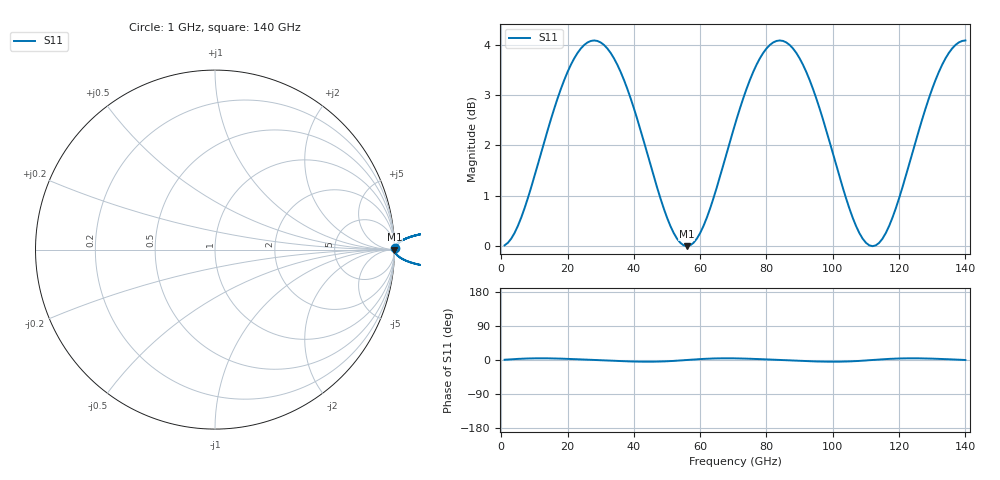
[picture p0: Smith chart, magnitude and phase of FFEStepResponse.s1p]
! File created by SignalIntegrity v1.1.14: Signal and Power Integrity Tools
! https://github.com/TeledyneLeCroy/SignalIntegrity
# MHz S MA R 50.0
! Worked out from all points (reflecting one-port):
!   140 points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, 1 GHz to 140 GHz, reference 50 ohm
!   lowest |S11| = 0.0 dB at 56 GHz (marker M1)
!   phase of S11 starts at 1 deg and turns -1 deg over the sweep
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1000  1.002 0.6
4000  1.031 2.4
8000  1.116 4.0
19000  1.462 3.3
24000  1.571 1.6
28000  1.6 0.0
32000  1.571 -1.6
36000  1.489 -3.0
42000  1.304 -4.4
48000  1.116 -4.0
54000  1.008 -1.3
56000  1 -0.0
62000  1.067 3.3
71000  1.337 4.3
76000  1.489 3.0
80000  1.571 1.6
84000  1.6 0.0
88000  1.571 -1.6
92000  1.489 -3.0
97000  1.337 -4.3
106000  1.067 -3.3
110000  1.008 -1.3
114000  1.008 1.3
118000  1.067 3.3
123000  1.205 4.5
133000  1.514 2.7
137000  1.584 1.2
140000  1.6 0.0
